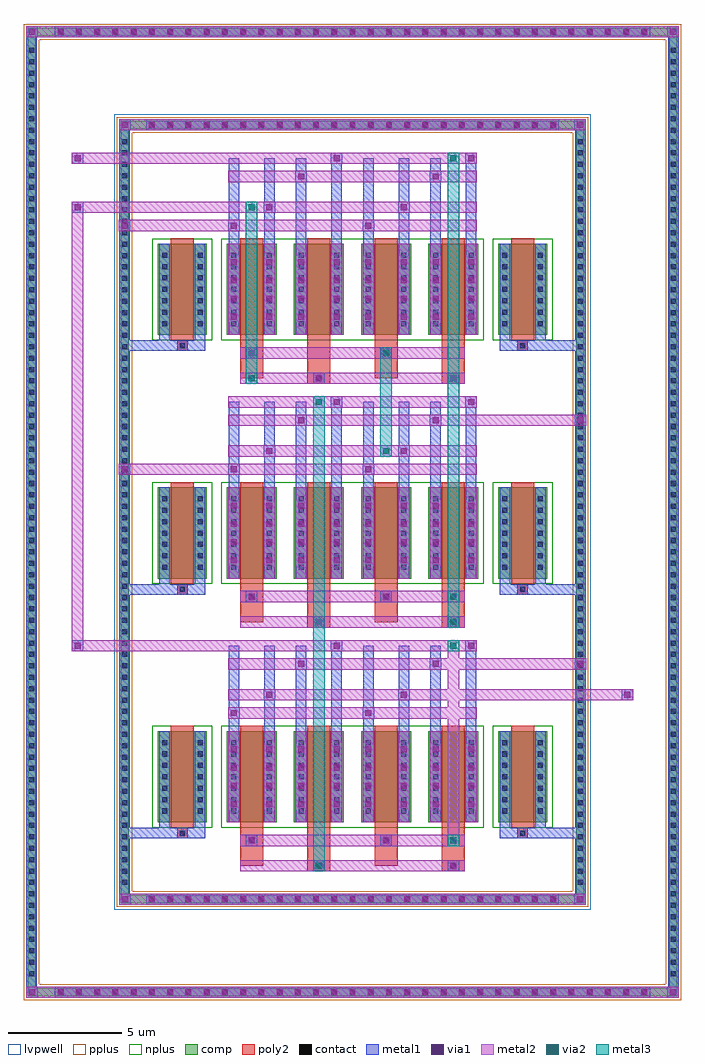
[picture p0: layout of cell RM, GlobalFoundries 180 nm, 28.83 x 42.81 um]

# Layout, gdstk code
import gdstk
lib = gdstk.Library(unit=1e-6, precision=5e-09)
def R(c, l, rs):  # rectangles x0, y0, x1, y1
    for r in rs: c.add(gdstk.rectangle(r[:2], r[2:], *l))
def A(c, l, x, y, w, h, nx, ny, dx, dy):  # array of equal rectangles
    R(c, l, [(x+i*dx, y+j*dy, x+i*dx+w, y+j*dy+h) for i in range(nx) for j in range(ny)])
def P(c, l, *ps):  # polygons
    for p in ps: c.add(gdstk.Polygon(p, *l))
comp = (22, 0)
poly2 = (30, 0)
pplus = (31, 0)
nplus = (32, 0)
contact = (33, 0)
metal1 = (34, 0)
via1 = (35, 0)
metal2 = (36, 0)
via2 = (38, 0)
metal3 = (42, 0)
lvpwell = (204, 0)

c_rm = lib.new_cell('RM')
A(c_rm, comp, -12.98, -10.555, 0.36, 0.36, 33, 2, 0.8, 42.13)
A(c_rm, comp, -14.255, -9.74, 0.36, 0.36, 1, 82, 0, 0.5)
A(c_rm, comp, 13.895, -9.74, 0.36, 0.36, 1, 82, 0, 0.5)
A(c_rm, comp, -8.98, -6.475, 0.36, 0.36, 23, 2, 0.8, 33.97)
A(c_rm, comp, -10.175, -5.74, 0.36, 0.36, 1, 66, 0, 0.5)
A(c_rm, comp, 9.815, -5.74, 0.36, 0.36, 1, 66, 0, 0.5)
A(c_rm, comp, -8.545, -2.925, 2.16, 4, 1, 3, 0, 10.69)
A(c_rm, comp, -5.525, -2.925, 2.2, 4, 4, 3, 2.95, 10.69)
A(c_rm, comp, 6.385, -2.925, 2.16, 4, 1, 3, 0, 10.69)
R(c_rm, comp, [(-12.98,-10.555,12.98,-10.195), (-14.255,-9.74,-13.895,31.12), (13.895,-9.74,14.255,31.12), (-8.98,-6.475,8.98,-6.115), (-10.175,-5.74,-9.815,27.12), (9.815,-5.74,10.175,27.12), (-8.98,27.495,8.98,27.855), (-12.98,31.575,12.98,31.935)])
P(c_rm, comp, [(14.255,31.935),(-14.255,31.935),(-14.255,-10.195),(-13.895,-10.195),(-13.895,31.575),(13.895,31.575),(13.895,-10.195),(-13.895,-10.195),(-14.255,-10.195),(-14.255,-10.555),(14.255,-10.555)],
  [(10.175,27.855),(-10.175,27.855),(-10.175,-6.115),(-9.815,-6.115),(-9.815,27.495),(9.815,27.495),(9.815,-6.115),(-9.815,-6.115),(-10.175,-6.115),(-10.175,-6.475),(10.175,-6.475)])
A(c_rm, poly2, -1.975, -5.075, 1, 0.5, 1, 3, 0, 10.69)
A(c_rm, poly2, 3.925, -5.075, 1, 0.5, 1, 3, 0, 10.69)
A(c_rm, poly2, -1.655, -5.005, 0.36, 0.36, 1, 3, 0, 10.69)
A(c_rm, poly2, 4.245, -5.005, 0.36, 0.36, 1, 3, 0, 10.69)
A(c_rm, poly2, -4.925, -4.825, 1, 6.14, 4, 3, 2.95, 10.69)
A(c_rm, poly2, -1.975, -4.575, 1, 1.41, 1, 3, 0, 10.69)
A(c_rm, poly2, 3.925, -4.575, 1, 1.41, 1, 3, 0, 10.69)
A(c_rm, poly2, -4.925, -3.965, 1, 0.5, 1, 3, 0, 10.69)
A(c_rm, poly2, 0.975, -3.965, 1, 0.5, 1, 3, 0, 10.69)
A(c_rm, poly2, -4.605, -3.895, 0.36, 0.36, 1, 3, 0, 10.69)
A(c_rm, poly2, 1.295, -3.895, 0.36, 0.36, 1, 3, 0, 10.69)
A(c_rm, poly2, -7.695, -3.625, 0.46, 0.46, 1, 3, 0, 10.69)
A(c_rm, poly2, 7.235, -3.625, 0.46, 0.46, 1, 3, 0, 10.69)
A(c_rm, poly2, -7.645, -3.575, 0.36, 0.36, 1, 3, 0, 10.69)
A(c_rm, poly2, 7.285, -3.575, 0.36, 0.36, 1, 3, 0, 10.69)
A(c_rm, poly2, -4.925, -3.465, 1, 0.3, 1, 3, 0, 10.69)
A(c_rm, poly2, 0.975, -3.465, 1, 0.3, 1, 3, 0, 10.69)
A(c_rm, poly2, -7.965, -3.165, 1, 4.48, 1, 3, 0, 10.69)
A(c_rm, poly2, -4.925, -3.165, 1, 4.48, 4, 3, 2.95, 10.69)
A(c_rm, poly2, 6.965, -3.165, 1, 4.48, 1, 3, 0, 10.69)
P(c_rm, pplus, [(14.415,32.095),(-14.415,32.095),(-14.415,-10.035),(-13.735,-10.035),(-13.735,31.415),(13.735,31.415),(13.735,-10.035),(-13.735,-10.035),(-14.415,-10.035),(-14.415,-10.715),(14.415,-10.715)],
  [(10.335,28.015),(-10.335,28.015),(-10.335,-5.955),(-9.655,-5.955),(-9.655,27.335),(9.655,27.335),(9.655,-5.955),(-9.655,-5.955),(-10.335,-5.955),(-10.335,-6.635),(10.335,-6.635)])
A(c_rm, nplus, -8.775, -3.155, 2.62, 4.46, 1, 3, 0, 10.69)
A(c_rm, nplus, -5.755, -3.155, 2.66, 4.46, 4, 3, 2.95, 10.69)
A(c_rm, nplus, -5.755, -3.155, 11.51, 4.46, 1, 3, 0, 10.69)
A(c_rm, nplus, 6.155, -3.155, 2.62, 4.46, 1, 3, 0, 10.69)
A(c_rm, contact, -12.91, -10.485, 0.22, 0.22, 33, 2, 0.8, 42.13)
A(c_rm, contact, -14.185, -9.67, 0.22, 0.22, 1, 82, 0, 0.5)
A(c_rm, contact, 13.965, -9.67, 0.22, 0.22, 1, 82, 0, 0.5)
A(c_rm, contact, -8.91, -6.405, 0.22, 0.22, 23, 2, 0.8, 33.97)
A(c_rm, contact, -10.105, -5.67, 0.22, 0.22, 1, 66, 0, 0.5)
A(c_rm, contact, 9.885, -5.67, 0.22, 0.22, 1, 66, 0, 0.5)
A(c_rm, contact, -1.585, -4.935, 0.22, 0.22, 1, 3, 0, 10.69)
A(c_rm, contact, 4.315, -4.935, 0.22, 0.22, 1, 3, 0, 10.69)
A(c_rm, contact, -4.535, -3.825, 0.22, 0.22, 1, 3, 0, 10.69)
A(c_rm, contact, 1.365, -3.825, 0.22, 0.22, 1, 3, 0, 10.69)
A(c_rm, contact, -7.575, -3.505, 0.22, 0.22, 1, 3, 0, 10.69)
A(c_rm, contact, 7.355, -3.505, 0.22, 0.22, 1, 3, 0, 10.69)
A(c_rm, contact, -8.355, -2.535, 0.22, 0.22, 1, 7, 0, 0.5)
A(c_rm, contact, -6.795, -2.535, 0.22, 0.22, 1, 7, 0, 0.5)
A(c_rm, contact, -5.315, -2.535, 0.22, 0.22, 1, 7, 0, 0.5)
A(c_rm, contact, -3.755, -2.535, 0.22, 0.22, 1, 7, 0, 0.5)
A(c_rm, contact, -2.365, -2.535, 0.22, 0.22, 1, 7, 0, 0.5)
A(c_rm, contact, -0.805, -2.535, 0.22, 0.22, 1, 7, 0, 0.5)
A(c_rm, contact, 0.585, -2.535, 0.22, 0.22, 1, 7, 0, 0.5)
A(c_rm, contact, 2.145, -2.535, 0.22, 0.22, 1, 7, 0, 0.5)
A(c_rm, contact, 3.535, -2.535, 0.22, 0.22, 1, 7, 0, 0.5)
A(c_rm, contact, 5.095, -2.535, 0.22, 0.22, 1, 7, 0, 0.5)
A(c_rm, contact, 6.575, -2.535, 0.22, 0.22, 1, 7, 0, 0.5)
A(c_rm, contact, 8.135, -2.535, 0.22, 0.22, 1, 7, 0, 0.5)
A(c_rm, contact, -8.355, 8.155, 0.22, 0.22, 1, 7, 0, 0.5)
A(c_rm, contact, -6.795, 8.155, 0.22, 0.22, 1, 7, 0, 0.5)
A(c_rm, contact, -5.315, 8.155, 0.22, 0.22, 1, 7, 0, 0.5)
A(c_rm, contact, -3.755, 8.155, 0.22, 0.22, 1, 7, 0, 0.5)
A(c_rm, contact, -2.365, 8.155, 0.22, 0.22, 1, 7, 0, 0.5)
A(c_rm, contact, -0.805, 8.155, 0.22, 0.22, 1, 7, 0, 0.5)
A(c_rm, contact, 0.585, 8.155, 0.22, 0.22, 1, 7, 0, 0.5)
A(c_rm, contact, 2.145, 8.155, 0.22, 0.22, 1, 7, 0, 0.5)
A(c_rm, contact, 3.535, 8.155, 0.22, 0.22, 1, 7, 0, 0.5)
A(c_rm, contact, 5.095, 8.155, 0.22, 0.22, 1, 7, 0, 0.5)
A(c_rm, contact, 6.575, 8.155, 0.22, 0.22, 1, 7, 0, 0.5)
A(c_rm, contact, 8.135, 8.155, 0.22, 0.22, 1, 7, 0, 0.5)
A(c_rm, contact, -8.355, 18.845, 0.22, 0.22, 1, 7, 0, 0.5)
A(c_rm, contact, -6.795, 18.845, 0.22, 0.22, 1, 7, 0, 0.5)
A(c_rm, contact, -5.315, 18.845, 0.22, 0.22, 1, 7, 0, 0.5)
A(c_rm, contact, -3.755, 18.845, 0.22, 0.22, 1, 7, 0, 0.5)
A(c_rm, contact, -2.365, 18.845, 0.22, 0.22, 1, 7, 0, 0.5)
A(c_rm, contact, -0.805, 18.845, 0.22, 0.22, 1, 7, 0, 0.5)
A(c_rm, contact, 0.585, 18.845, 0.22, 0.22, 1, 7, 0, 0.5)
A(c_rm, contact, 2.145, 18.845, 0.22, 0.22, 1, 7, 0, 0.5)
A(c_rm, contact, 3.535, 18.845, 0.22, 0.22, 1, 7, 0, 0.5)
A(c_rm, contact, 5.095, 18.845, 0.22, 0.22, 1, 7, 0, 0.5)
A(c_rm, contact, 6.575, 18.845, 0.22, 0.22, 1, 7, 0, 0.5)
A(c_rm, contact, 8.135, 18.845, 0.22, 0.22, 1, 7, 0, 0.5)
A(c_rm, metal1, -13.05, -10.625, 0.5, 0.5, 33, 2, 0.8, 42.13)
A(c_rm, metal1, -14.305, -9.79, 0.46, 0.46, 1, 82, 0, 0.5)
A(c_rm, metal1, 13.845, -9.79, 0.46, 0.46, 1, 82, 0, 0.5)
A(c_rm, metal1, -9.05, -6.545, 0.5, 0.5, 23, 2, 0.8, 33.97)
A(c_rm, metal1, -10.225, -5.79, 0.46, 0.46, 1, 66, 0, 0.5)
A(c_rm, metal1, 9.765, -5.79, 0.46, 0.46, 1, 66, 0, 0.5)
A(c_rm, metal1, -1.725, -5.075, 0.5, 0.5, 1, 3, 0, 10.69)
A(c_rm, metal1, 4.175, -5.075, 0.5, 0.5, 1, 3, 0, 10.69)
A(c_rm, metal1, -4.675, -3.965, 0.5, 0.5, 1, 3, 0, 10.69)
A(c_rm, metal1, 1.225, -3.965, 0.5, 0.5, 1, 3, 0, 10.69)
A(c_rm, metal1, -10.225, -3.625, 2.53, 0.46, 1, 3, 0, 10.69)
A(c_rm, metal1, -8.475, -3.625, 0.78, 0.46, 1, 3, 0, 10.69)
A(c_rm, metal1, -8.475, -3.625, 0.46, 0.7, 1, 3, 0, 10.69)
A(c_rm, metal1, -7.695, -3.625, 0.46, 0.46, 1, 3, 0, 10.69)
A(c_rm, metal1, -7.235, -3.625, 0.78, 0.46, 1, 3, 0, 10.69)
A(c_rm, metal1, -6.915, -3.625, 0.46, 0.7, 1, 3, 0, 10.69)
A(c_rm, metal1, 6.455, -3.625, 0.78, 0.46, 1, 3, 0, 10.69)
A(c_rm, metal1, 6.455, -3.625, 0.46, 0.7, 1, 3, 0, 10.69)
A(c_rm, metal1, 7.235, -3.625, 0.46, 0.46, 1, 3, 0, 10.69)
A(c_rm, metal1, 7.695, -3.625, 0.78, 0.46, 1, 3, 0, 10.69)
A(c_rm, metal1, 7.695, -3.625, 2.53, 0.46, 1, 3, 0, 10.69)
A(c_rm, metal1, 8.015, -3.625, 0.46, 0.7, 1, 3, 0, 10.69)
A(c_rm, metal1, -8.475, -2.925, 0.46, 4, 1, 3, 0, 10.69)
A(c_rm, metal1, -6.915, -2.925, 0.46, 4, 1, 3, 0, 10.69)
A(c_rm, metal1, -5.435, -2.925, 0.46, 4, 1, 3, 0, 10.69)
A(c_rm, metal1, -3.875, -2.925, 0.46, 4, 1, 3, 0, 10.69)
A(c_rm, metal1, -2.485, -2.925, 0.46, 4, 1, 3, 0, 10.69)
A(c_rm, metal1, 0.465, -2.925, 0.46, 4, 1, 3, 0, 10.69)
A(c_rm, metal1, 2.025, -2.925, 0.46, 4, 1, 3, 0, 10.69)
A(c_rm, metal1, 3.415, -2.925, 0.46, 4, 1, 3, 0, 10.69)
A(c_rm, metal1, 6.455, -2.925, 0.46, 4, 1, 3, 0, 10.69)
A(c_rm, metal1, 8.015, -2.925, 0.46, 4, 1, 3, 0, 10.69)
A(c_rm, metal1, -8.475, -2.655, 0.46, 0.46, 1, 7, 0, 0.5)
A(c_rm, metal1, -6.915, -2.655, 0.46, 0.46, 1, 7, 0, 0.5)
A(c_rm, metal1, -5.435, -2.655, 0.46, 0.46, 1, 7, 0, 0.5)
A(c_rm, metal1, -3.875, -2.655, 0.46, 0.46, 1, 7, 0, 0.5)
A(c_rm, metal1, -2.485, -2.655, 0.46, 0.46, 1, 7, 0, 0.5)
A(c_rm, metal1, -0.925, -2.655, 0.46, 0.46, 1, 7, 0, 0.5)
A(c_rm, metal1, 0.465, -2.655, 0.46, 0.46, 1, 7, 0, 0.5)
A(c_rm, metal1, 2.025, -2.655, 0.46, 0.46, 1, 7, 0, 0.5)
A(c_rm, metal1, 3.415, -2.655, 0.46, 0.46, 1, 7, 0, 0.5)
A(c_rm, metal1, 4.975, -2.655, 0.46, 0.46, 1, 7, 0, 0.5)
A(c_rm, metal1, 6.455, -2.655, 0.46, 0.46, 1, 7, 0, 0.5)
A(c_rm, metal1, 8.015, -2.655, 0.46, 0.46, 1, 7, 0, 0.5)
A(c_rm, metal1, -5.455, -2.375, 0.5, 0.5, 1, 4, 0, 0.8)
A(c_rm, metal1, -5.455, -2.375, 0.5, 2.9, 1, 3, 0, 10.69)
A(c_rm, metal1, -3.895, -2.375, 0.5, 0.5, 1, 4, 0, 0.8)
A(c_rm, metal1, -3.895, -2.375, 0.5, 2.9, 1, 3, 0, 10.69)
A(c_rm, metal1, -2.505, -2.375, 0.5, 0.5, 1, 4, 0, 0.8)
A(c_rm, metal1, -2.505, -2.375, 0.5, 2.9, 1, 3, 0, 10.69)
A(c_rm, metal1, -0.945, -2.375, 0.5, 0.5, 1, 4, 0, 0.8)
A(c_rm, metal1, -0.945, -2.375, 0.5, 2.9, 1, 3, 0, 10.69)
A(c_rm, metal1, 0.445, -2.375, 0.5, 0.5, 1, 4, 0, 0.8)
A(c_rm, metal1, 0.445, -2.375, 0.5, 2.9, 1, 3, 0, 10.69)
A(c_rm, metal1, 2.005, -2.375, 0.5, 0.5, 1, 4, 0, 0.8)
A(c_rm, metal1, 2.005, -2.375, 0.5, 2.9, 1, 3, 0, 10.69)
A(c_rm, metal1, 3.395, -2.375, 0.5, 0.5, 1, 4, 0, 0.8)
A(c_rm, metal1, 3.395, -2.375, 0.5, 2.9, 1, 3, 0, 10.69)
A(c_rm, metal1, 4.955, -2.375, 0.5, 0.5, 1, 4, 0, 0.8)
A(c_rm, metal1, 4.955, -2.375, 0.5, 2.9, 1, 3, 0, 10.69)
A(c_rm, metal1, -5.435, 1.075, 0.46, 1.05, 1, 3, 0, 10.69)
A(c_rm, metal1, -5.435, 1.075, 0.46, 3.75, 1, 3, 0, 10.69)
A(c_rm, metal1, -3.875, 1.075, 0.46, 1.85, 1, 3, 0, 10.69)
A(c_rm, metal1, -3.875, 1.075, 0.46, 3.75, 1, 3, 0, 10.69)
A(c_rm, metal1, -2.485, 1.075, 0.46, 3.2, 1, 3, 0, 10.69)
A(c_rm, metal1, -2.485, 1.075, 0.46, 3.75, 1, 3, 0, 10.69)
A(c_rm, metal1, -0.925, 1.075, 0.46, 3.75, 1, 3, 0, 10.69)
A(c_rm, metal1, 0.465, 1.075, 0.46, 1.05, 1, 3, 0, 10.69)
A(c_rm, metal1, 0.465, 1.075, 0.46, 3.75, 1, 3, 0, 10.69)
A(c_rm, metal1, 2.025, 1.075, 0.46, 1.85, 1, 3, 0, 10.69)
A(c_rm, metal1, 2.025, 1.075, 0.46, 3.75, 1, 3, 0, 10.69)
A(c_rm, metal1, 3.415, 1.075, 0.46, 3.2, 1, 3, 0, 10.69)
A(c_rm, metal1, 3.415, 1.075, 0.46, 3.75, 1, 3, 0, 10.69)
A(c_rm, metal1, 4.975, 1.075, 0.46, 3.75, 1, 3, 0, 10.69)
A(c_rm, metal1, -8.475, 8.035, 0.46, 0.46, 1, 7, 0, 0.5)
A(c_rm, metal1, -6.915, 8.035, 0.46, 0.46, 1, 7, 0, 0.5)
A(c_rm, metal1, -5.435, 8.035, 0.46, 0.46, 1, 7, 0, 0.5)
A(c_rm, metal1, -3.875, 8.035, 0.46, 0.46, 1, 7, 0, 0.5)
A(c_rm, metal1, -2.485, 8.035, 0.46, 0.46, 1, 7, 0, 0.5)
A(c_rm, metal1, -0.925, 8.035, 0.46, 0.46, 1, 7, 0, 0.5)
A(c_rm, metal1, 0.465, 8.035, 0.46, 0.46, 1, 7, 0, 0.5)
A(c_rm, metal1, 2.025, 8.035, 0.46, 0.46, 1, 7, 0, 0.5)
A(c_rm, metal1, 3.415, 8.035, 0.46, 0.46, 1, 7, 0, 0.5)
A(c_rm, metal1, 4.975, 8.035, 0.46, 0.46, 1, 7, 0, 0.5)
A(c_rm, metal1, 6.455, 8.035, 0.46, 0.46, 1, 7, 0, 0.5)
A(c_rm, metal1, 8.015, 8.035, 0.46, 0.46, 1, 7, 0, 0.5)
A(c_rm, metal1, -5.455, 8.315, 0.5, 0.5, 1, 4, 0, 0.8)
A(c_rm, metal1, -3.895, 8.315, 0.5, 0.5, 1, 4, 0, 0.8)
A(c_rm, metal1, -2.505, 8.315, 0.5, 0.5, 1, 4, 0, 0.8)
A(c_rm, metal1, -0.945, 8.315, 0.5, 0.5, 1, 4, 0, 0.8)
A(c_rm, metal1, 0.445, 8.315, 0.5, 0.5, 1, 4, 0, 0.8)
A(c_rm, metal1, 2.005, 8.315, 0.5, 0.5, 1, 4, 0, 0.8)
A(c_rm, metal1, 3.395, 8.315, 0.5, 0.5, 1, 4, 0, 0.8)
A(c_rm, metal1, 4.955, 8.315, 0.5, 0.5, 1, 4, 0, 0.8)
A(c_rm, metal1, -8.475, 18.725, 0.46, 0.46, 1, 7, 0, 0.5)
A(c_rm, metal1, -6.915, 18.725, 0.46, 0.46, 1, 7, 0, 0.5)
A(c_rm, metal1, -5.435, 18.725, 0.46, 0.46, 1, 7, 0, 0.5)
A(c_rm, metal1, -3.875, 18.725, 0.46, 0.46, 1, 7, 0, 0.5)
A(c_rm, metal1, -2.485, 18.725, 0.46, 0.46, 1, 7, 0, 0.5)
A(c_rm, metal1, -0.925, 18.725, 0.46, 0.46, 1, 7, 0, 0.5)
A(c_rm, metal1, 0.465, 18.725, 0.46, 0.46, 1, 7, 0, 0.5)
A(c_rm, metal1, 2.025, 18.725, 0.46, 0.46, 1, 7, 0, 0.5)
A(c_rm, metal1, 3.415, 18.725, 0.46, 0.46, 1, 7, 0, 0.5)
A(c_rm, metal1, 4.975, 18.725, 0.46, 0.46, 1, 7, 0, 0.5)
A(c_rm, metal1, 6.455, 18.725, 0.46, 0.46, 1, 7, 0, 0.5)
A(c_rm, metal1, 8.015, 18.725, 0.46, 0.46, 1, 7, 0, 0.5)
A(c_rm, metal1, -5.455, 19.005, 0.5, 0.5, 1, 4, 0, 0.8)
A(c_rm, metal1, -3.895, 19.005, 0.5, 0.5, 1, 4, 0, 0.8)
A(c_rm, metal1, -2.505, 19.005, 0.5, 0.5, 1, 4, 0, 0.8)
A(c_rm, metal1, -0.945, 19.005, 0.5, 0.5, 1, 4, 0, 0.8)
A(c_rm, metal1, 0.445, 19.005, 0.5, 0.5, 1, 4, 0, 0.8)
A(c_rm, metal1, 2.005, 19.005, 0.5, 0.5, 1, 4, 0, 0.8)
A(c_rm, metal1, 3.395, 19.005, 0.5, 0.5, 1, 4, 0, 0.8)
A(c_rm, metal1, 4.955, 19.005, 0.5, 0.5, 1, 4, 0, 0.8)
R(c_rm, metal1, [(-14.305,-10.625,-13.805,-10.125), (-14.305,-10.625,-13.805,-10.125), (-14.305,-10.625,-13.845,-10.195), (-13.05,-10.625,13.05,-10.125), (13.805,-10.625,14.305,-10.125), (13.805,-10.625,14.305,-10.125), (13.845,-10.625,14.305,-10.195), (-14.305,-10.195,-13.845,31.575), (13.845,-10.195,14.305,31.575), (-10.225,-6.545,-9.725,-6.045), (-10.225,-6.545,-9.725,-6.045), (-10.225,-6.545,-9.765,-6.115), (-9.05,-6.545,9.05,-6.045), (9.725,-6.545,10.225,-6.045), (9.725,-6.545,10.225,-6.045), (9.765,-6.545,10.225,-6.115), (-10.225,-6.115,-9.765,27.495), (9.765,-6.115,10.225,27.495), (-0.925,-2.925,-0.465,1.075), (4.975,-2.925,5.435,1.075), (-0.925,1.075,-0.465,5.075), (4.975,1.075,5.435,5.075), (-5.455,1.625,-4.955,2.125), (0.445,1.625,0.945,2.125), (-3.895,2.425,-3.395,2.925), (2.005,2.425,2.505,2.925), (11.805,2.425,12.305,2.925), (-2.505,3.775,-2.005,4.275), (3.395,3.775,3.895,4.275), (9.745,3.775,10.245,4.275), (-12.305,4.575,-11.805,5.075), (-12.305,4.575,-11.805,5.075), (-0.945,4.575,-0.445,5.075), (4.955,4.575,5.455,5.075), (-0.925,7.765,-0.465,11.765), (4.975,7.765,5.435,11.765), (-0.925,11.765,-0.465,15.765), (4.975,11.765,5.435,15.765), (-10.245,12.315,-9.745,12.815), (-5.455,12.315,-4.955,12.815), (0.445,12.315,0.945,12.815), (-3.895,13.115,-3.395,13.615), (2.005,13.115,2.505,13.615), (-2.505,14.465,-2.005,14.965), (3.395,14.465,3.895,14.965), (9.745,14.465,10.245,14.965), (-0.945,15.265,-0.445,15.765), (4.955,15.265,5.455,15.765), (-0.925,18.455,-0.465,22.455), (4.975,18.455,5.435,22.455), (-0.925,22.455,-0.465,26.455), (4.975,22.455,5.435,26.455), (-10.245,23.005,-9.745,23.505), (-5.455,23.005,-4.955,23.505), (0.445,23.005,0.945,23.505), (-12.305,23.805,-11.805,24.305), (-3.895,23.805,-3.395,24.305), (2.005,23.805,2.505,24.305), (-2.505,25.155,-2.005,25.655), (3.395,25.155,3.895,25.655), (-12.305,25.955,-11.805,26.455), (-0.945,25.955,-0.445,26.455), (4.955,25.955,5.455,26.455), (-10.225,27.425,-9.725,27.925), (-10.225,27.425,-9.725,27.925), (-9.05,27.425,9.05,27.925), (9.725,27.425,10.225,27.925), (9.725,27.425,10.225,27.925), (-10.225,27.495,-9.765,27.925), (9.765,27.495,10.225,27.925), (-14.305,31.505,-13.805,32.005), (-14.305,31.505,-13.805,32.005), (-13.05,31.505,13.05,32.005), (13.805,31.505,14.305,32.005), (13.805,31.505,14.305,32.005), (-14.305,31.575,-13.845,32.005), (13.845,31.575,14.305,32.005)])
A(c_rm, via1, -12.93, -10.505, 0.26, 0.26, 33, 2, 0.8, 42.13)
A(c_rm, via1, -8.93, -6.425, 0.26, 0.26, 23, 2, 0.8, 33.97)
A(c_rm, via1, -1.605, -4.955, 0.26, 0.26, 1, 3, 0, 10.69)
A(c_rm, via1, 4.295, -4.955, 0.26, 0.26, 1, 3, 0, 10.69)
A(c_rm, via1, -4.555, -3.845, 0.26, 0.26, 1, 3, 0, 10.69)
A(c_rm, via1, 1.345, -3.845, 0.26, 0.26, 1, 3, 0, 10.69)
A(c_rm, via1, -5.335, -2.255, 0.26, 0.26, 1, 4, 0, 0.8)
A(c_rm, via1, -3.775, -2.255, 0.26, 0.26, 1, 4, 0, 0.8)
A(c_rm, via1, -2.385, -2.255, 0.26, 0.26, 1, 4, 0, 0.8)
A(c_rm, via1, -0.825, -2.255, 0.26, 0.26, 1, 4, 0, 0.8)
A(c_rm, via1, 0.565, -2.255, 0.26, 0.26, 1, 4, 0, 0.8)
A(c_rm, via1, 2.125, -2.255, 0.26, 0.26, 1, 4, 0, 0.8)
A(c_rm, via1, 3.515, -2.255, 0.26, 0.26, 1, 4, 0, 0.8)
A(c_rm, via1, 5.075, -2.255, 0.26, 0.26, 1, 4, 0, 0.8)
A(c_rm, via1, -5.335, 8.435, 0.26, 0.26, 1, 4, 0, 0.8)
A(c_rm, via1, -3.775, 8.435, 0.26, 0.26, 1, 4, 0, 0.8)
A(c_rm, via1, -2.385, 8.435, 0.26, 0.26, 1, 4, 0, 0.8)
A(c_rm, via1, -0.825, 8.435, 0.26, 0.26, 1, 4, 0, 0.8)
A(c_rm, via1, 0.565, 8.435, 0.26, 0.26, 1, 4, 0, 0.8)
A(c_rm, via1, 2.125, 8.435, 0.26, 0.26, 1, 4, 0, 0.8)
A(c_rm, via1, 3.515, 8.435, 0.26, 0.26, 1, 4, 0, 0.8)
A(c_rm, via1, 5.075, 8.435, 0.26, 0.26, 1, 4, 0, 0.8)
A(c_rm, via1, -5.335, 19.125, 0.26, 0.26, 1, 4, 0, 0.8)
A(c_rm, via1, -3.775, 19.125, 0.26, 0.26, 1, 4, 0, 0.8)
A(c_rm, via1, -2.385, 19.125, 0.26, 0.26, 1, 4, 0, 0.8)
A(c_rm, via1, -0.825, 19.125, 0.26, 0.26, 1, 4, 0, 0.8)
A(c_rm, via1, 0.565, 19.125, 0.26, 0.26, 1, 4, 0, 0.8)
A(c_rm, via1, 2.125, 19.125, 0.26, 0.26, 1, 4, 0, 0.8)
A(c_rm, via1, 3.515, 19.125, 0.26, 0.26, 1, 4, 0, 0.8)
A(c_rm, via1, 5.075, 19.125, 0.26, 0.26, 1, 4, 0, 0.8)
R(c_rm, via1, [(-14.185,-10.505,-13.925,-10.245), (13.925,-10.505,14.185,-10.245), (-10.105,-6.425,-9.845,-6.165), (9.845,-6.425,10.105,-6.165), (-5.335,1.745,-5.075,2.005), (0.565,1.745,0.825,2.005), (-3.775,2.545,-3.515,2.805), (2.125,2.545,2.385,2.805), (11.925,2.545,12.185,2.805), (-2.385,3.895,-2.125,4.155), (3.515,3.895,3.775,4.155), (9.865,3.895,10.125,4.155), (-12.185,4.695,-11.925,4.955), (-12.185,4.695,-11.925,4.955), (-0.825,4.695,-0.565,4.955), (5.075,4.695,5.335,4.955), (-10.125,12.435,-9.865,12.695), (-5.335,12.435,-5.075,12.695), (0.565,12.435,0.825,12.695), (-3.775,13.235,-3.515,13.495), (2.125,13.235,2.385,13.495), (-2.385,14.585,-2.125,14.845), (3.515,14.585,3.775,14.845), (9.865,14.585,10.125,14.845), (-0.825,15.385,-0.565,15.645), (5.075,15.385,5.335,15.645), (-10.125,23.125,-9.865,23.385), (-5.335,23.125,-5.075,23.385), (0.565,23.125,0.825,23.385), (-12.185,23.925,-11.925,24.185), (-3.775,23.925,-3.515,24.185), (2.125,23.925,2.385,24.185), (-2.385,25.275,-2.125,25.535), (3.515,25.275,3.775,25.535), (-12.185,26.075,-11.925,26.335), (-0.825,26.075,-0.565,26.335), (5.075,26.075,5.335,26.335), (-10.105,27.545,-9.845,27.805), (9.845,27.545,10.105,27.805), (-14.185,31.625,-13.925,31.885), (13.925,31.625,14.185,31.885)])
A(c_rm, metal2, -13.05, -10.625, 0.5, 0.5, 33, 2, 0.8, 42.13)
A(c_rm, metal2, -9.05, -6.545, 0.5, 0.5, 23, 2, 0.8, 33.97)
A(c_rm, metal2, -4.925, -5.075, 3.95, 0.5, 1, 3, 0, 10.69)
A(c_rm, metal2, -1.975, -5.075, 1, 0.5, 1, 3, 0, 10.69)
A(c_rm, metal2, -1.975, -5.075, 6.9, 0.5, 1, 3, 0, 10.69)
A(c_rm, metal2, -4.925, -3.965, 6.9, 0.5, 1, 3, 0, 10.69)
A(c_rm, metal2, 0.975, -3.965, 1, 0.5, 1, 3, 0, 10.69)
A(c_rm, metal2, 0.975, -3.965, 3.95, 0.5, 1, 3, 0, 10.69)
A(c_rm, metal2, -5.455, -2.925, 0.5, 4, 1, 3, 0, 10.69)
A(c_rm, metal2, -3.895, -2.925, 0.5, 4, 1, 3, 0, 10.69)
A(c_rm, metal2, -2.505, -2.925, 0.5, 4, 1, 3, 0, 10.69)
A(c_rm, metal2, -0.945, -2.925, 0.5, 4, 1, 3, 0, 10.69)
A(c_rm, metal2, 0.445, -2.925, 0.5, 4, 1, 3, 0, 10.69)
A(c_rm, metal2, 2.005, -2.925, 0.5, 4, 1, 3, 0, 10.69)
A(c_rm, metal2, 3.395, -2.925, 0.5, 4, 1, 3, 0, 10.69)
A(c_rm, metal2, 4.955, -2.925, 0.5, 4, 1, 3, 0, 10.69)
A(c_rm, metal2, -5.455, -2.375, 0.5, 0.5, 1, 4, 0, 0.8)
A(c_rm, metal2, -3.895, -2.375, 0.5, 0.5, 1, 4, 0, 0.8)
A(c_rm, metal2, -2.505, -2.375, 0.5, 0.5, 1, 4, 0, 0.8)
A(c_rm, metal2, -0.945, -2.375, 0.5, 0.5, 1, 4, 0, 0.8)
A(c_rm, metal2, 0.445, -2.375, 0.5, 0.5, 1, 4, 0, 0.8)
A(c_rm, metal2, 2.005, -2.375, 0.5, 0.5, 1, 4, 0, 0.8)
A(c_rm, metal2, 3.395, -2.375, 0.5, 0.5, 1, 4, 0, 0.8)
A(c_rm, metal2, 4.955, -2.375, 0.5, 0.5, 1, 4, 0, 0.8)
A(c_rm, metal2, -5.455, 8.315, 0.5, 0.5, 1, 4, 0, 0.8)
A(c_rm, metal2, -3.895, 8.315, 0.5, 0.5, 1, 4, 0, 0.8)
A(c_rm, metal2, -2.505, 8.315, 0.5, 0.5, 1, 4, 0, 0.8)
A(c_rm, metal2, -0.945, 8.315, 0.5, 0.5, 1, 4, 0, 0.8)
A(c_rm, metal2, 0.445, 8.315, 0.5, 0.5, 1, 4, 0, 0.8)
A(c_rm, metal2, 2.005, 8.315, 0.5, 0.5, 1, 4, 0, 0.8)
A(c_rm, metal2, 3.395, 8.315, 0.5, 0.5, 1, 4, 0, 0.8)
A(c_rm, metal2, 4.955, 8.315, 0.5, 0.5, 1, 4, 0, 0.8)
A(c_rm, metal2, -5.455, 19.005, 0.5, 0.5, 1, 4, 0, 0.8)
A(c_rm, metal2, -3.895, 19.005, 0.5, 0.5, 1, 4, 0, 0.8)
A(c_rm, metal2, -2.505, 19.005, 0.5, 0.5, 1, 4, 0, 0.8)
A(c_rm, metal2, -0.945, 19.005, 0.5, 0.5, 1, 4, 0, 0.8)
A(c_rm, metal2, 0.445, 19.005, 0.5, 0.5, 1, 4, 0, 0.8)
A(c_rm, metal2, 2.005, 19.005, 0.5, 0.5, 1, 4, 0, 0.8)
A(c_rm, metal2, 3.395, 19.005, 0.5, 0.5, 1, 4, 0, 0.8)
A(c_rm, metal2, 4.955, 19.005, 0.5, 0.5, 1, 4, 0, 0.8)
R(c_rm, metal2, [(-14.305,-10.625,-13.805,-10.125), (-14.305,-10.625,-13.805,-10.125), (-14.305,-10.625,-13.895,-10.125), (-13.895,-10.625,13.895,-10.125), (13.805,-10.625,14.305,-10.125), (13.805,-10.625,14.305,-10.125), (13.895,-10.625,14.305,-10.125), (-10.225,-6.545,-9.725,-6.045), (-10.225,-6.545,-9.725,-6.045), (-10.225,-6.545,-9.815,-6.045), (-9.815,-6.545,9.815,-6.045), (9.725,-6.545,10.225,-6.045), (9.725,-6.545,10.225,-6.045), (9.815,-6.545,10.225,-6.045), (-4.925,-5.075,4.925,-4.575), (-1.725,-5.075,-1.225,-4.575), (-1.725,-5.075,-1.225,-4.575), (3.925,-5.075,4.925,-4.575), (3.925,-5.075,4.925,-4.575), (4.175,-5.075,4.675,-4.575), (-4.925,-3.965,-3.925,-3.465), (-4.925,-3.965,-3.925,-3.465), (-4.925,-3.965,4.925,-3.465), (-4.675,-3.965,-4.175,-3.465), (1.225,-3.965,1.725,-3.465), (4.175,-3.965,4.675,-3.465), (4.175,-3.965,4.675,-3.465), (4.175,-3.965,4.675,5.075), (-5.455,1.625,-4.955,2.125), (-5.455,1.625,-3.395,2.125), (-5.455,1.625,-3.395,2.125), (-5.455,1.625,5.455,2.125), (-5.455,1.625,2.505,2.125), (0.445,1.625,0.945,2.125), (0.445,1.625,2.505,2.125), (0.445,1.625,5.455,2.125), (-5.455,2.425,-3.395,2.925), (-5.455,2.425,-3.395,2.925), (-5.455,2.425,5.455,2.925), (-5.455,2.425,2.505,2.925), (-3.895,2.425,-3.395,2.925), (-3.395,2.425,12.305,2.925), (0.445,2.425,2.505,2.925), (0.445,2.425,5.455,2.925), (2.005,2.425,2.505,2.925), (11.805,2.425,12.305,2.925), (-5.455,3.775,5.455,4.275), (-5.455,3.775,-0.445,4.275), (-2.505,3.775,-2.005,4.275), (-2.505,3.775,-0.445,4.275), (-2.505,3.775,5.455,4.275), (-2.505,3.775,10.245,4.275), (3.395,3.775,3.895,4.275), (3.395,3.775,5.455,4.275), (3.395,3.775,5.455,4.275), (9.745,3.775,10.245,4.275), (-12.305,4.575,-11.805,5.075), (-12.305,4.575,-11.805,5.075), (-12.305,4.575,-2.505,5.075), (-5.455,4.575,5.455,5.075), (-5.455,4.575,-0.445,5.075), (-2.505,4.575,-0.445,5.075), (-2.505,4.575,5.455,5.075), (-0.945,4.575,-0.445,5.075), (3.395,4.575,5.455,5.075), (3.395,4.575,5.455,5.075), (4.175,4.575,4.675,5.075), (4.955,4.575,5.455,5.075), (-12.305,5.075,-11.805,23.805), (-4.925,5.615,4.925,6.115), (-1.725,5.615,-1.225,6.115), (3.925,5.615,4.925,6.115), (3.925,5.615,4.925,6.115), (4.175,5.615,4.675,6.115), (4.175,5.615,4.675,6.115), (-4.925,6.725,-3.925,7.225), (-4.925,6.725,-3.925,7.225), (-4.925,6.725,4.925,7.225), (-4.675,6.725,-4.175,7.225), (1.225,6.725,1.725,7.225), (4.175,6.725,4.675,7.225), (-10.245,12.315,-9.745,12.815), (-10.245,12.315,-5.455,12.815), (-5.455,12.315,-4.955,12.815), (-5.455,12.315,-3.395,12.815), (-5.455,12.315,-3.395,12.815), (-5.455,12.315,5.455,12.815), (-5.455,12.315,2.505,12.815), (0.445,12.315,0.945,12.815), (0.445,12.315,2.505,12.815), (0.445,12.315,5.455,12.815), (-5.455,13.115,-3.395,13.615), (-5.455,13.115,-3.395,13.615), (-5.455,13.115,5.455,13.615), (-5.455,13.115,2.505,13.615), (-3.895,13.115,-3.395,13.615), (0.445,13.115,2.505,13.615), (0.445,13.115,5.455,13.615), (1.225,13.115,1.725,13.615), (2.005,13.115,2.505,13.615), (-5.455,14.465,5.455,14.965), (-5.455,14.465,-0.445,14.965), (-2.505,14.465,-2.005,14.965), (-2.505,14.465,-0.445,14.965), (-2.505,14.465,5.455,14.965), (-2.505,14.465,9.745,14.965), (3.395,14.465,3.895,14.965), (3.395,14.465,5.455,14.965), (3.395,14.465,5.455,14.965), (9.745,14.465,10.245,14.965), (-5.455,15.265,5.455,15.765), (-5.455,15.265,-0.445,15.765), (-2.505,15.265,-0.445,15.765), (-2.505,15.265,5.455,15.765), (-1.725,15.265,-1.225,15.765), (-0.945,15.265,-0.445,15.765), (3.395,15.265,5.455,15.765), (3.395,15.265,5.455,15.765), (4.955,15.265,5.455,15.765), (-4.925,16.305,4.925,16.805), (-4.675,16.305,-4.175,16.805), (-1.725,16.305,-1.225,16.805), (3.925,16.305,4.925,16.805), (3.925,16.305,4.925,16.805), (4.175,16.305,4.675,16.805), (-4.925,17.415,-3.925,17.915), (-4.925,17.415,-3.925,17.915), (-4.925,17.415,4.925,17.915), (-4.675,17.415,-4.175,17.915), (1.225,17.415,1.725,17.915), (1.225,17.415,1.725,17.915), (-10.245,23.005,-9.745,23.505), (-10.245,23.005,-5.455,23.505), (-5.455,23.005,-4.955,23.505), (-5.455,23.005,-3.395,23.505), (-5.455,23.005,-3.395,23.505), (-5.455,23.005,5.455,23.505), (-5.455,23.005,2.505,23.505), (0.445,23.005,0.945,23.505), (0.445,23.005,2.505,23.505), (0.445,23.005,5.455,23.505), (-12.305,23.805,-11.805,24.305), (-12.305,23.805,-5.455,24.305), (-5.455,23.805,-3.395,24.305), (-5.455,23.805,-3.395,24.305), (-5.455,23.805,5.455,24.305), (-5.455,23.805,2.505,24.305), (-4.675,23.805,-4.175,24.305), (-3.895,23.805,-3.395,24.305), (0.445,23.805,2.505,24.305), (0.445,23.805,5.455,24.305), (2.005,23.805,2.505,24.305), (-5.455,25.155,5.455,25.655), (-5.455,25.155,-0.445,25.655), (-2.505,25.155,-2.005,25.655), (-2.505,25.155,-0.445,25.655), (-2.505,25.155,5.455,25.655), (3.395,25.155,3.895,25.655), (3.395,25.155,5.455,25.655), (3.395,25.155,5.455,25.655), (-12.305,25.955,-11.805,26.455), (-12.305,25.955,-2.505,26.455), (-5.455,25.955,5.455,26.455), (-5.455,25.955,-0.445,26.455), (-2.505,25.955,-0.445,26.455), (-2.505,25.955,5.455,26.455), (-0.945,25.955,-0.445,26.455), (3.395,25.955,5.455,26.455), (3.395,25.955,5.455,26.455), (4.175,25.955,4.675,26.455), (4.955,25.955,5.455,26.455), (-10.225,27.425,-9.725,27.925), (-10.225,27.425,-9.725,27.925), (-10.225,27.425,-9.815,27.925), (-9.815,27.425,9.815,27.925), (9.725,27.425,10.225,27.925), (9.725,27.425,10.225,27.925), (9.815,27.425,10.225,27.925), (-14.305,31.505,-13.805,32.005), (-14.305,31.505,-13.805,32.005), (-14.305,31.505,-13.895,32.005), (-13.895,31.505,13.895,32.005), (13.805,31.505,14.305,32.005), (13.805,31.505,14.305,32.005), (13.895,31.505,14.305,32.005)])
R(c_rm, via2, [(-1.605,-4.955,-1.345,-4.695), (4.295,-3.845,4.555,-3.585), (4.295,-3.845,4.555,-3.585), (4.295,4.695,4.555,4.955), (4.295,5.735,4.555,5.995), (4.295,6.845,4.555,7.105), (1.345,13.235,1.605,13.495), (-1.605,15.385,-1.345,15.645), (-4.555,16.425,-4.295,16.685), (1.345,17.535,1.605,17.795), (-4.555,23.925,-4.295,24.185), (4.295,26.075,4.555,26.335)])
R(c_rm, metal3, [(-1.725,-5.075,-1.225,15.765), (-1.725,-5.075,-1.225,-4.575), (4.175,-3.965,4.675,-3.465), (4.175,-3.965,4.675,-3.465), (4.175,4.575,4.675,5.075), (4.175,5.615,4.675,26.455), (4.175,5.615,4.675,6.115), (4.175,6.115,4.675,6.725), (4.175,6.725,4.675,7.225), (1.225,13.115,1.725,13.615), (1.225,13.115,1.725,17.915), (-1.725,15.265,-1.225,15.765), (-4.675,16.305,-4.175,16.805), (-4.675,16.305,-4.175,24.305), (1.225,17.415,1.725,17.915), (-4.675,23.805,-4.175,24.305), (4.175,25.955,4.675,26.455)])
A(c_rm, lvpwell, -8.895, -5.195, 17.79, 10.39, 1, 3, 0, 10.69)
R(c_rm, lvpwell, [(-10.455,-6.755,10.455,28.135)])

lib.write_gds('RM.gds')
